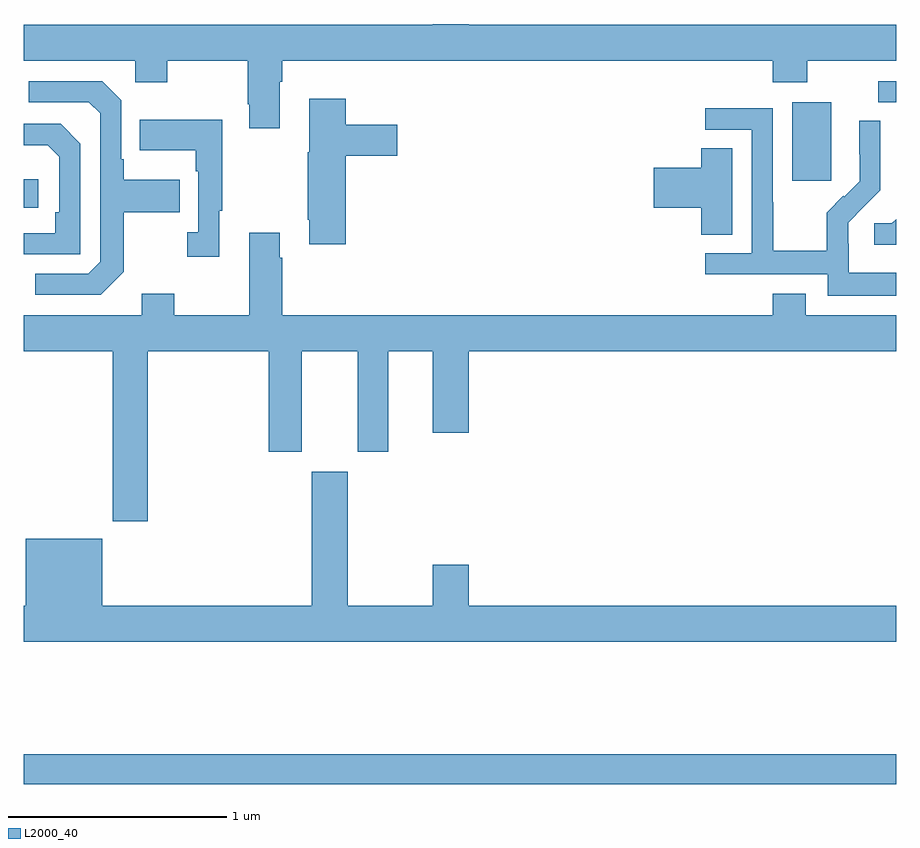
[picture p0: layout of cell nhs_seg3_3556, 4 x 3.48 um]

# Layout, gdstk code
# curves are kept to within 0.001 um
import gdstk
lib = gdstk.Library(unit=1e-6, precision=1e-09)
def R(c, l, rs):  # rectangles x0, y0, x1, y1
    for r in rs: c.add(gdstk.rectangle(r[:2], r[2:], *l))
def P(c, l, *ps):  # polygons
    for p in ps: c.add(gdstk.Polygon(p, *l))
L2000_40 = (2000, 40)

nhs_seg3_3556 = lib.new_cell('nhs_seg3_3556')
R(nhs_seg3_3556, L2000_40, [(295,714.916,299,715.052), (295,717.558,295.066,717.688), (298.523,717.681,298.702,718.042), (298.917,718.041,299,718.137)])
P(nhs_seg3_3556, L2000_40, [(296.173,718.136),(296.186,718.136),(296.186,718.232),(298.433,718.232),(298.433,718.133),(298.593,718.133),(298.593,718.232),(299,718.232),(299,718.396),(297.04,718.396),(297.04,718.4),(296.876,718.4),(296.876,718.396),(295,718.396),(295,718.232),(295.512,718.232),(295.512,718.133),(295.659,718.133),(295.659,718.232),(296.026,718.232),(296.026,718.033),(296.033,718.033),(296.033,717.921),(296.173,717.921)],
  [(295.459,717.265),(295.459,717.538),(295.715,717.538),(295.715,717.685),(295.459,717.685),(295.459,717.781),(295.446,717.781),(295.446,718.05),(295.359,718.137),(295.023,718.137),(295.023,718.041),(295.299,718.041),(295.35,717.99),(295.35,717.309),(295.296,717.255),(295.053,717.255),(295.053,717.159),(295.353,717.159)],
  [(296.477,717.797),(296.713,717.797),(296.713,717.939),(296.477,717.939),(296.477,718.057),(296.309,718.057),(296.309,717.813),(296.302,717.813),(296.302,717.502),(296.309,717.502),(296.309,717.39),(296.477,717.39)],
  [(299,717.259),(298.782,717.259),(298.782,717.393),(298.78,717.393),(298.78,717.49),(298.926,717.638),(298.926,717.956),(298.83,717.956),(298.83,717.802),(298.832,717.802),(298.832,717.68),(298.761,717.609),(298.758,717.612),(298.681,717.535),(298.681,717.361),(298.437,717.361),(298.437,717.584),(298.434,717.584),(298.434,718.014),(298.125,718.014),(298.125,717.915),(298.338,717.915),(298.338,717.348),(298.125,717.348),(298.125,717.252),(298.686,717.252),(298.686,717.155),(299,717.155)],
  [(295.897,717.545),(295.909,717.545),(295.909,717.961),(295.531,717.961),(295.531,717.821),(295.788,717.821),(295.788,717.725),(295.8,717.725),(295.8,717.446),(295.749,717.446),(295.749,717.333),(295.897,717.333)],
  [(295.26,717.852),(295.17,717.942),(295,717.942),(295,717.845),(295.111,717.845),(295.164,717.792),(295.164,717.538),(295.144,717.538),(295.144,717.441),(295,717.441),(295,717.345),(295.26,717.345)],
  [(298.249,717.83),(298.106,717.83),(298.106,717.74),(297.888,717.74),(297.888,717.557),(298.106,717.557),(298.106,717.433),(298.249,717.433)],
  [(299,717.506),(298.98,717.486),(298.899,717.486),(298.899,717.389),(299,717.389)],
  [(296.033,717.064),(295.689,717.064),(295.689,717.163),(295.541,717.163),(295.541,717.064),(295,717.064),(295,716.9),(295.408,716.9),(295.408,716.121),(295.568,716.121),(295.568,716.9),(296.123,716.9),(296.123,716.439),(296.275,716.439),(296.275,716.9),(296.531,716.9),(296.531,716.439),(296.671,716.439),(296.671,716.9),(296.876,716.9),(296.876,716.526),(297.04,716.526),(297.04,716.9),(299,716.9),(299,717.064),(298.585,717.064),(298.585,717.163),(298.433,717.163),(298.433,717.064),(296.186,717.064),(296.186,717.329),(296.173,717.329),(296.173,717.442),(296.033,717.442)],
  [(299,715.732),(297.04,715.732),(297.04,715.921),(296.876,715.921),(296.876,715.732),(296.485,715.732),(296.485,716.347),(296.321,716.347),(296.321,715.732),(295.36,715.732),(295.36,716.041),(295.01,716.041),(295.01,715.732),(295,715.732),(295,715.568),(299,715.568)])

lib.write_gds('nhs_seg3_3556.gds')
